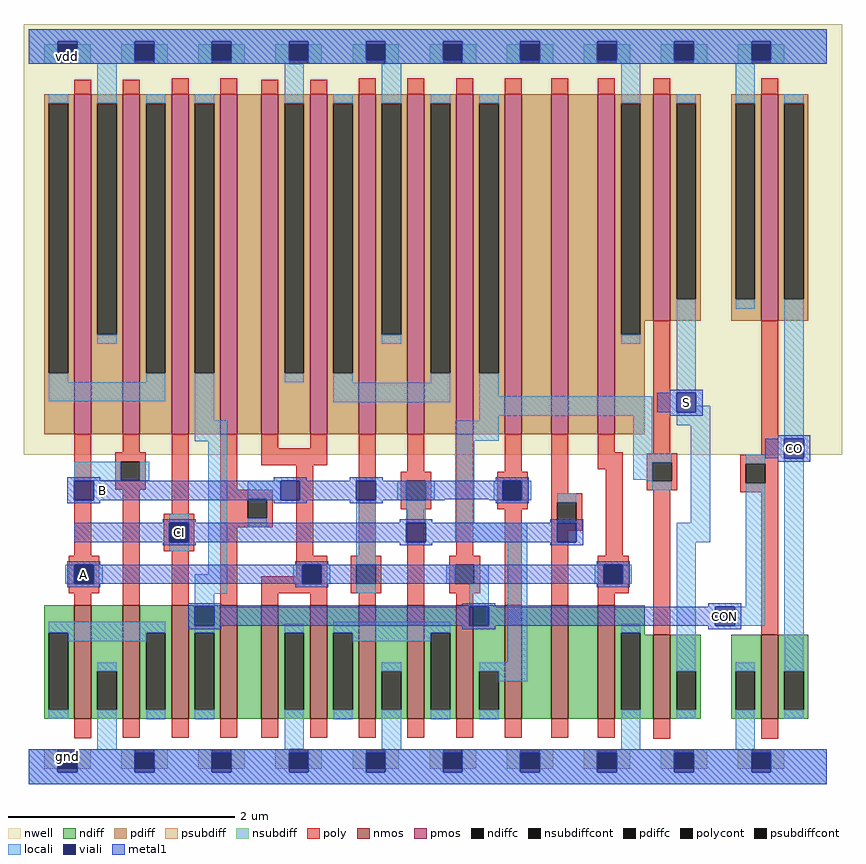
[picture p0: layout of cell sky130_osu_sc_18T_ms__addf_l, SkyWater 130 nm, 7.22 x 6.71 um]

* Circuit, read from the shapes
.subckt sky130_osu_sc_18T_ms__addf_l A CI B CON CO S
XM1 gnd A n1 gnd sky130_fd_pr__nfet_01v8 w=1 l=0.15
XM2 n1 B gnd gnd sky130_fd_pr__nfet_01v8 w=1 l=0.15
XM3 CON CI n1 gnd sky130_fd_pr__nfet_01v8 w=1 l=0.15
XM4 n2 B CON gnd sky130_fd_pr__nfet_01v8 w=1 l=0.15
XM5 gnd A n2 gnd sky130_fd_pr__nfet_01v8 w=1 l=0.15
XM6 n3 A gnd gnd sky130_fd_pr__nfet_01v8 w=1 l=0.15
XM7 gnd B n3 gnd sky130_fd_pr__nfet_01v8 w=1 l=0.15
XM8 n3 CI gnd gnd sky130_fd_pr__nfet_01v8 w=1 l=0.15
XM9 n4 CON n3 gnd sky130_fd_pr__nfet_01v8 w=1 l=0.15
XM10 n5 B n4 gnd sky130_fd_pr__nfet_01v8 w=1 l=0.15
XM11 n6 CI n5 gnd sky130_fd_pr__nfet_01v8 w=1 l=0.15
XM12 gnd A n6 gnd sky130_fd_pr__nfet_01v8 w=1 l=0.15
XM13 S n4 gnd gnd sky130_fd_pr__nfet_01v8 w=0.74 l=0.15
XM14 CO CON gnd gnd sky130_fd_pr__nfet_01v8 w=0.74 l=0.15
XM15 vdd A n7 vdd sky130_fd_pr__pfet_01v8 w=3 l=0.15
XM16 n7 B vdd vdd sky130_fd_pr__pfet_01v8 w=3 l=0.15
XM17 CON CI n7 vdd sky130_fd_pr__pfet_01v8 w=3 l=0.15
XM18 n8 B CON vdd sky130_fd_pr__pfet_01v8 w=3 l=0.15
XM19 vdd A n8 vdd sky130_fd_pr__pfet_01v8 w=3 l=0.15
XM20 n9 A vdd vdd sky130_fd_pr__pfet_01v8 w=3 l=0.15
XM21 vdd B n9 vdd sky130_fd_pr__pfet_01v8 w=3 l=0.15
XM22 n9 CI vdd vdd sky130_fd_pr__pfet_01v8 w=3 l=0.15
XM23 n4 CON n9 vdd sky130_fd_pr__pfet_01v8 w=3 l=0.15
XM24 n10 B n4 vdd sky130_fd_pr__pfet_01v8 w=3 l=0.15
XM25 n11 CI n10 vdd sky130_fd_pr__pfet_01v8 w=3 l=0.15
XM26 vdd A n11 vdd sky130_fd_pr__pfet_01v8 w=3 l=0.15
XM27 S n4 vdd vdd sky130_fd_pr__pfet_01v8 w=2 l=0.15
XM28 CO CON vdd vdd sky130_fd_pr__pfet_01v8 w=2 l=0.15
.ends

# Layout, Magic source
magic
tech sky130A
magscale 1 2
<< nwell >>
rect -9 581 1435 1341
<< nmos >>
rect 80 115 110 315
rect 166 115 196 315
rect 252 115 282 315
rect 338 115 368 315
rect 410 115 440 315
rect 496 115 526 315
rect 582 115 612 315
rect 668 115 698 315
rect 754 115 784 315
rect 840 115 870 315
rect 922 115 952 315
rect 1004 115 1034 315
rect 1102 115 1132 263
rect 1292 115 1322 263
<< pmos >>
rect 80 617 110 1217
rect 166 617 196 1217
rect 252 617 282 1217
rect 338 617 368 1217
rect 410 617 440 1217
rect 496 617 526 1217
rect 582 617 612 1217
rect 668 617 698 1217
rect 754 617 784 1217
rect 840 617 870 1217
rect 922 617 952 1217
rect 1004 617 1034 1217
rect 1102 817 1132 1217
rect 1292 817 1322 1217
<< ndiff >>
rect 27 267 80 315
rect 27 131 35 267
rect 69 131 80 267
rect 27 115 80 131
rect 110 199 166 315
rect 110 131 121 199
rect 155 131 166 199
rect 110 115 166 131
rect 196 267 252 315
rect 196 131 207 267
rect 241 131 252 267
rect 196 115 252 131
rect 282 267 338 315
rect 282 131 293 267
rect 327 131 338 267
rect 282 115 338 131
rect 368 115 410 315
rect 440 267 496 315
rect 440 131 451 267
rect 485 131 496 267
rect 440 115 496 131
rect 526 267 582 315
rect 526 131 537 267
rect 571 131 582 267
rect 526 115 582 131
rect 612 199 668 315
rect 612 131 623 199
rect 657 131 668 199
rect 612 115 668 131
rect 698 267 754 315
rect 698 131 709 267
rect 743 131 754 267
rect 698 115 754 131
rect 784 199 840 315
rect 784 131 795 199
rect 829 131 840 199
rect 784 115 840 131
rect 870 115 922 315
rect 952 115 1004 315
rect 1034 267 1087 315
rect 1034 131 1045 267
rect 1079 263 1087 267
rect 1079 131 1102 263
rect 1034 115 1102 131
rect 1132 199 1185 263
rect 1132 131 1143 199
rect 1177 131 1185 199
rect 1132 115 1185 131
rect 1239 199 1292 263
rect 1239 131 1247 199
rect 1281 131 1292 199
rect 1239 115 1292 131
rect 1322 199 1375 263
rect 1322 131 1333 199
rect 1367 131 1375 199
rect 1322 115 1375 131
<< pdiff >>
rect 27 1201 80 1217
rect 27 725 35 1201
rect 69 725 80 1201
rect 27 617 80 725
rect 110 1201 166 1217
rect 110 793 121 1201
rect 155 793 166 1201
rect 110 617 166 793
rect 196 1201 252 1217
rect 196 725 207 1201
rect 241 725 252 1201
rect 196 617 252 725
rect 282 1201 338 1217
rect 282 725 293 1201
rect 327 725 338 1201
rect 282 617 338 725
rect 368 617 410 1217
rect 440 1201 496 1217
rect 440 725 451 1201
rect 485 725 496 1201
rect 440 617 496 725
rect 526 1201 582 1217
rect 526 725 537 1201
rect 571 725 582 1201
rect 526 617 582 725
rect 612 1201 668 1217
rect 612 793 623 1201
rect 657 793 668 1201
rect 612 617 668 793
rect 698 1201 754 1217
rect 698 725 709 1201
rect 743 725 754 1201
rect 698 617 754 725
rect 784 1201 840 1217
rect 784 725 795 1201
rect 829 725 840 1201
rect 784 617 840 725
rect 870 617 922 1217
rect 952 617 1004 1217
rect 1034 1201 1102 1217
rect 1034 793 1045 1201
rect 1079 817 1102 1201
rect 1132 1201 1185 1217
rect 1132 855 1143 1201
rect 1177 855 1185 1201
rect 1132 817 1185 855
rect 1239 1201 1292 1217
rect 1239 855 1247 1201
rect 1281 855 1292 1201
rect 1239 817 1292 855
rect 1322 1201 1375 1217
rect 1322 855 1333 1201
rect 1367 855 1375 1201
rect 1322 817 1375 855
rect 1079 793 1087 817
rect 1034 617 1087 793
<< ndiffc >>
rect 35 131 69 267
rect 121 131 155 199
rect 207 131 241 267
rect 293 131 327 267
rect 451 131 485 267
rect 537 131 571 267
rect 623 131 657 199
rect 709 131 743 267
rect 795 131 829 199
rect 1045 131 1079 267
rect 1143 131 1177 199
rect 1247 131 1281 199
rect 1333 131 1367 199
<< pdiffc >>
rect 35 725 69 1201
rect 121 793 155 1201
rect 207 725 241 1201
rect 293 725 327 1201
rect 451 725 485 1201
rect 537 725 571 1201
rect 623 793 657 1201
rect 709 725 743 1201
rect 795 725 829 1201
rect 1045 793 1079 1201
rect 1143 855 1177 1201
rect 1247 855 1281 1201
rect 1333 855 1367 1201
<< psubdiff >>
rect 27 27 51 61
rect 85 27 109 61
rect 163 27 187 61
rect 221 27 245 61
rect 299 27 323 61
rect 357 27 381 61
rect 435 27 459 61
rect 493 27 517 61
rect 571 27 595 61
rect 629 27 653 61
rect 707 27 731 61
rect 765 27 789 61
rect 843 27 867 61
rect 901 27 925 61
rect 979 27 1003 61
rect 1037 27 1061 61
rect 1115 27 1139 61
rect 1173 27 1197 61
rect 1251 27 1275 61
rect 1309 27 1333 61
<< nsubdiff >>
rect 27 1271 51 1305
rect 85 1271 109 1305
rect 163 1271 187 1305
rect 221 1271 245 1305
rect 299 1271 323 1305
rect 357 1271 381 1305
rect 435 1271 459 1305
rect 493 1271 517 1305
rect 571 1271 595 1305
rect 629 1271 653 1305
rect 707 1271 731 1305
rect 765 1271 789 1305
rect 843 1271 867 1305
rect 901 1271 925 1305
rect 979 1271 1003 1305
rect 1037 1271 1061 1305
rect 1115 1271 1139 1305
rect 1173 1271 1197 1305
rect 1251 1271 1275 1305
rect 1309 1271 1333 1305
<< psubdiffcont >>
rect 51 27 85 61
rect 187 27 221 61
rect 323 27 357 61
rect 459 27 493 61
rect 595 27 629 61
rect 731 27 765 61
rect 867 27 901 61
rect 1003 27 1037 61
rect 1139 27 1173 61
rect 1275 27 1309 61
<< nsubdiffcont >>
rect 51 1271 85 1305
rect 187 1271 221 1305
rect 323 1271 357 1305
rect 459 1271 493 1305
rect 595 1271 629 1305
rect 731 1271 765 1305
rect 867 1271 901 1305
rect 1003 1271 1037 1305
rect 1139 1271 1173 1305
rect 1275 1271 1309 1305
<< poly >>
rect 80 1217 110 1243
rect 166 1217 196 1243
rect 252 1217 282 1245
rect 338 1217 368 1245
rect 410 1217 440 1243
rect 496 1217 526 1243
rect 582 1217 612 1245
rect 668 1217 698 1245
rect 754 1217 784 1245
rect 840 1217 870 1245
rect 922 1217 952 1245
rect 1004 1217 1034 1245
rect 1102 1217 1132 1245
rect 1292 1217 1322 1245
rect 80 403 110 617
rect 166 585 196 617
rect 152 569 206 585
rect 152 535 162 569
rect 196 535 206 569
rect 152 519 206 535
rect 70 387 124 403
rect 70 353 80 387
rect 114 353 124 387
rect 70 337 124 353
rect 80 315 110 337
rect 166 315 196 519
rect 252 477 282 617
rect 338 519 368 617
rect 410 592 440 617
rect 496 592 526 617
rect 410 562 526 592
rect 338 503 430 519
rect 238 461 292 477
rect 238 427 248 461
rect 282 427 292 461
rect 238 411 292 427
rect 338 469 386 503
rect 420 469 430 503
rect 338 453 430 469
rect 252 315 282 411
rect 338 315 368 453
rect 472 403 502 562
rect 582 403 612 617
rect 668 551 698 617
rect 656 535 710 551
rect 656 501 666 535
rect 700 501 710 535
rect 656 485 710 501
rect 472 387 526 403
rect 472 367 482 387
rect 410 353 482 367
rect 516 353 526 387
rect 410 337 526 353
rect 568 387 622 403
rect 568 353 578 387
rect 612 353 622 387
rect 568 337 622 353
rect 410 315 440 337
rect 496 315 526 337
rect 582 315 612 337
rect 668 315 698 485
rect 754 403 784 617
rect 840 551 870 617
rect 826 535 880 551
rect 826 501 836 535
rect 870 501 880 535
rect 826 485 880 501
rect 922 513 952 617
rect 1004 585 1034 617
rect 1004 555 1048 585
rect 1102 584 1132 817
rect 922 497 976 513
rect 742 387 796 403
rect 742 353 752 387
rect 786 353 796 387
rect 742 337 796 353
rect 754 315 784 337
rect 840 315 870 485
rect 922 463 932 497
rect 966 463 976 497
rect 922 447 976 463
rect 922 315 952 447
rect 1018 403 1048 555
rect 1090 568 1144 584
rect 1292 581 1322 817
rect 1090 534 1100 568
rect 1134 534 1144 568
rect 1090 518 1144 534
rect 1255 565 1322 581
rect 1255 531 1265 565
rect 1299 531 1322 565
rect 1004 387 1058 403
rect 1004 353 1014 387
rect 1048 353 1058 387
rect 1004 337 1058 353
rect 1004 315 1034 337
rect 1102 263 1132 518
rect 1255 515 1322 531
rect 1292 263 1322 515
rect 80 81 110 115
rect 166 82 196 115
rect 252 82 282 115
rect 338 82 368 115
rect 410 82 440 115
rect 496 82 526 115
rect 582 82 612 115
rect 668 82 698 115
rect 754 82 784 115
rect 840 82 870 115
rect 922 82 952 115
rect 1004 82 1034 115
rect 1102 80 1132 115
rect 1292 80 1322 115
<< polycont >>
rect 162 535 196 569
rect 80 353 114 387
rect 248 427 282 461
rect 386 469 420 503
rect 666 501 700 535
rect 482 353 516 387
rect 578 353 612 387
rect 836 501 870 535
rect 752 353 786 387
rect 932 463 966 497
rect 1100 534 1134 568
rect 1265 531 1299 565
rect 1014 353 1048 387
<< locali >>
rect 0 1311 1408 1332
rect 0 1271 51 1311
rect 85 1271 187 1311
rect 221 1271 323 1311
rect 357 1271 459 1311
rect 493 1271 595 1311
rect 629 1271 731 1311
rect 765 1271 867 1311
rect 901 1271 1003 1311
rect 1037 1271 1139 1311
rect 1173 1271 1275 1311
rect 1309 1271 1408 1311
rect 35 1201 69 1217
rect 121 1201 155 1271
rect 121 777 155 793
rect 207 1201 241 1217
rect 35 709 69 725
rect 207 709 241 725
rect 35 675 241 709
rect 293 1201 327 1217
rect 293 642 327 725
rect 451 1201 485 1271
rect 451 709 485 725
rect 537 1201 571 1217
rect 623 1201 657 1271
rect 623 777 657 793
rect 709 1201 743 1217
rect 537 708 571 725
rect 709 708 743 725
rect 537 674 743 708
rect 795 1201 829 1217
rect 1045 1201 1079 1271
rect 1045 777 1079 793
rect 1143 1201 1177 1217
rect 795 684 829 725
rect 1143 690 1177 855
rect 1247 1201 1281 1271
rect 1247 839 1281 855
rect 1333 1201 1367 1217
rect 795 650 1100 684
rect 293 605 350 642
rect 795 641 829 650
rect 80 535 162 569
rect 196 535 212 569
rect 248 461 282 477
rect 248 411 282 427
rect 64 353 80 387
rect 114 353 130 387
rect 316 370 350 605
rect 752 606 829 641
rect 578 535 612 541
rect 386 503 444 535
rect 420 501 444 503
rect 650 501 666 535
rect 700 501 716 535
rect 386 453 420 469
rect 578 387 612 501
rect 666 461 700 501
rect 752 461 786 606
rect 1066 584 1100 650
rect 1177 656 1202 667
rect 1143 633 1202 656
rect 1066 568 1134 584
rect 1066 537 1100 568
rect 820 501 836 535
rect 870 501 886 535
rect 1089 534 1100 537
rect 1100 518 1134 534
rect 932 497 966 513
rect 932 461 966 463
rect 1168 461 1202 633
rect 1333 609 1367 855
rect 752 427 879 461
rect 1143 427 1202 461
rect 1265 565 1299 581
rect 293 336 350 370
rect 466 353 482 387
rect 516 353 532 387
rect 736 353 752 387
rect 786 353 811 387
rect 578 337 612 353
rect 293 313 327 336
rect 35 267 241 286
rect 69 252 207 267
rect 35 115 69 131
rect 121 199 155 215
rect 121 61 155 131
rect 207 114 241 131
rect 777 313 811 353
rect 293 267 327 279
rect 293 114 327 131
rect 451 267 485 283
rect 451 61 485 131
rect 537 267 743 286
rect 571 252 709 267
rect 537 114 571 131
rect 623 199 657 215
rect 623 61 657 131
rect 845 215 879 427
rect 998 353 1014 387
rect 1048 353 1064 387
rect 709 114 743 131
rect 795 199 879 215
rect 829 181 879 199
rect 1045 267 1079 283
rect 795 114 829 131
rect 1045 61 1079 131
rect 1143 199 1177 427
rect 1265 313 1299 531
rect 1245 279 1299 313
rect 1143 115 1177 131
rect 1247 199 1281 215
rect 1247 61 1281 131
rect 1333 199 1367 575
rect 1333 115 1367 131
rect 0 21 51 61
rect 85 21 187 61
rect 221 21 323 61
rect 357 21 459 61
rect 493 21 595 61
rect 629 21 731 61
rect 765 21 867 61
rect 901 21 1003 61
rect 1037 21 1139 61
rect 1173 21 1275 61
rect 1309 21 1408 61
rect 0 0 1408 21
<< viali >>
rect 51 1305 85 1311
rect 51 1277 85 1305
rect 187 1305 221 1311
rect 187 1277 221 1305
rect 323 1305 357 1311
rect 323 1277 357 1305
rect 459 1305 493 1311
rect 459 1277 493 1305
rect 595 1305 629 1311
rect 595 1277 629 1305
rect 731 1305 765 1311
rect 731 1277 765 1305
rect 867 1305 901 1311
rect 867 1277 901 1305
rect 1003 1305 1037 1311
rect 1003 1277 1037 1305
rect 1139 1305 1173 1311
rect 1139 1277 1173 1305
rect 1275 1305 1309 1311
rect 1275 1277 1309 1305
rect 80 501 114 535
rect 248 427 282 461
rect 80 353 114 387
rect 444 501 478 535
rect 578 501 612 535
rect 666 427 700 461
rect 1143 656 1177 690
rect 836 501 870 535
rect 932 427 966 461
rect 482 353 516 387
rect 293 279 327 313
rect 777 279 811 313
rect 1014 353 1048 387
rect 1211 279 1245 313
rect 1333 575 1367 609
rect 51 27 85 55
rect 51 21 85 27
rect 187 27 221 55
rect 187 21 221 27
rect 323 27 357 55
rect 323 21 357 27
rect 459 27 493 55
rect 459 21 493 27
rect 595 27 629 55
rect 595 21 629 27
rect 731 27 765 55
rect 731 21 765 27
rect 867 27 901 55
rect 867 21 901 27
rect 1003 27 1037 55
rect 1003 21 1037 27
rect 1139 27 1173 55
rect 1139 21 1173 27
rect 1275 27 1309 55
rect 1275 21 1309 27
<< metal1 >>
rect 0 1311 1408 1332
rect 0 1277 51 1311
rect 85 1277 187 1311
rect 221 1277 323 1311
rect 357 1277 459 1311
rect 493 1277 595 1311
rect 629 1277 731 1311
rect 765 1277 867 1311
rect 901 1277 1003 1311
rect 1037 1277 1139 1311
rect 1173 1277 1275 1311
rect 1309 1277 1408 1311
rect 0 1271 1408 1277
rect 1131 690 1189 696
rect 1109 656 1143 690
rect 1177 656 1189 690
rect 1131 650 1189 656
rect 1321 609 1379 615
rect 1299 575 1333 609
rect 1367 575 1379 609
rect 1321 569 1379 575
rect 68 535 126 541
rect 432 535 490 541
rect 566 535 624 541
rect 824 535 882 541
rect 68 501 80 535
rect 114 501 444 535
rect 478 501 578 535
rect 612 502 836 535
rect 612 501 734 502
rect 812 501 836 502
rect 870 501 882 535
rect 68 495 126 501
rect 432 495 490 501
rect 566 495 624 501
rect 824 495 882 501
rect 236 461 294 467
rect 654 461 712 467
rect 920 461 978 467
rect 80 427 248 461
rect 282 427 666 461
rect 700 427 932 461
rect 966 427 978 461
rect 236 421 294 427
rect 654 421 712 427
rect 920 421 978 427
rect 68 387 126 393
rect 470 387 528 393
rect 1002 387 1060 393
rect 68 353 80 387
rect 114 353 482 387
rect 516 353 1014 387
rect 1048 353 1060 387
rect 68 347 126 353
rect 470 347 528 353
rect 1002 347 1060 353
rect 281 313 339 319
rect 765 313 823 319
rect 1199 313 1257 319
rect 281 279 293 313
rect 327 279 777 313
rect 811 279 1211 313
rect 1245 279 1257 313
rect 281 273 339 279
rect 765 273 823 279
rect 1199 273 1257 279
rect 0 55 1408 61
rect 0 21 51 55
rect 85 21 187 55
rect 221 21 323 55
rect 357 21 459 55
rect 493 21 595 55
rect 629 21 731 55
rect 765 21 867 55
rect 901 21 1003 55
rect 1037 21 1139 55
rect 1173 21 1275 55
rect 1309 21 1408 55
rect 0 0 1408 21
<< labels >>
rlabel metal1 97 370 97 370 1 A
port 1 n
rlabel metal1 265 444 265 444 1 CI
port 2 n
rlabel metal1 129 518 129 518 1 B
port 3 n
rlabel metal1 1350 592 1350 592 1 CO
port 5 n
rlabel metal1 1160 673 1160 673 1 S
port 6 n
rlabel metal1 1228 296 1228 296 1 CON
port 4 n
rlabel viali 68 48 68 48 1 gnd
rlabel viali 68 1284 68 1284 1 vdd
<< end >>
